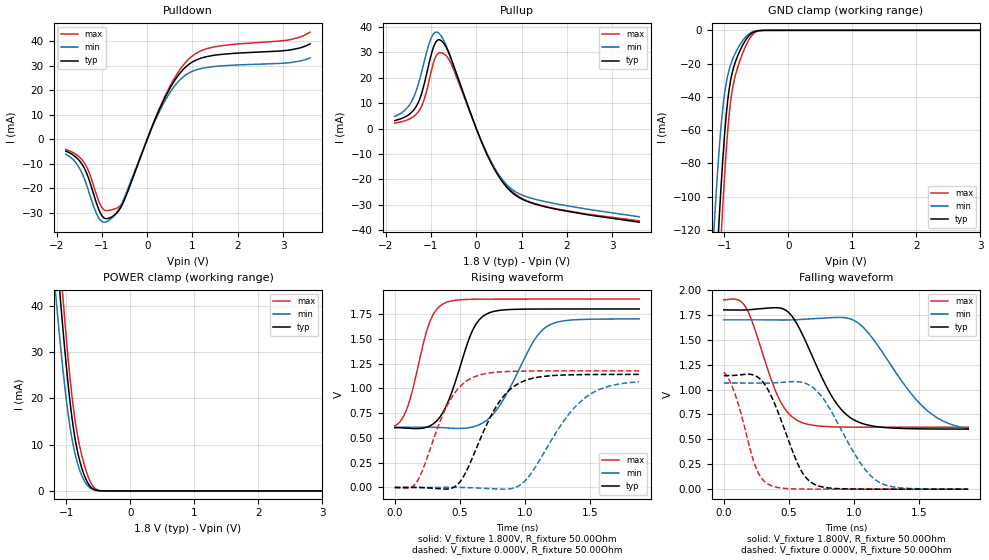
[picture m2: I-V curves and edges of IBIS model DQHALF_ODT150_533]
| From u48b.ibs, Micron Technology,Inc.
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|MODEL DQHALF_ODT150_533 (Reduced-Drv IO Drvr with 150-ohm ODT Submodel,400/533)
[Model]   DQHALF_ODT150_533
Model_type   I/O
Vinl = 650.000mV
Vinh = 1.150V
Vmeas = 900.000mV
Vref = 900.000mV
Cref = 0.0pF
Rref = 25.000Ohm
|   typ   min   max
C_comp   3.09pF   2.91pF   3.33pF
| Note: C_comp decreases when the ODT circuit is enabled.
[Model Spec]
| Input threshold voltage corners
Vinl   0.650V   0.600V   0.700V
Vinh   1.150V   1.100V   1.200V
| Measurement voltage corners
Vmeas   0.900V   0.850V   0.950V
| Timing spec test load voltage corners
Vref   0.900V   0.850V   0.950V
[Receiver Thresholds]
Vth   =  0.900V
Vth_min  =  0.882V
Vth_max  =  0.918V
Vinh_ac  =  0.250V
Vinh_dc  =  0.125V
Vinl_ac  = -0.250V
Vinl_dc  = -0.125V
Tslew_ac =  5.000ns |Not specified, so set to high value
Threshold_sensitivity = 0.50
Reference_supply Pullup_ref
[Voltage Range]   1.800V   1.700V   1.900V
[Pullup Reference]   1.800V   1.700V   1.900V
| Junction Temperature (Ambient temp is 25C typ, 85C min, 0C max)
[Temperature Range]   40.0   100.0   0.0
[Add Submodel]
| Submodel Name   Mode
150ohm_ODT_533   Non-Driving
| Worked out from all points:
|   slope of the pulldown table from 0 to 0.27 V, typ, clamps not added: 22 ohm
|   slope of the pullup table from 0 to 0.27 V, typ, clamps not added: 23.7 ohm
|   GND clamp passes 1 mA (typ) near -0.54 V on its own axis
|   POWER clamp passes 1 mA (typ) near -0.63 V on its own axis
|   falling waveform, V_fixture 1.800V, R_fixture 50.00Ohm: 20-80 % time 275ps typ, 371ps min, 209ps max; typ from 1.8 V to 0.603 V
|   rising waveform, V_fixture 1.800V, R_fixture 50.00Ohm: 20-80 % time 188ps typ, 265ps min, 148ps max; typ from 0.603 V to 1.8 V
|   rising waveform, V_fixture 0.000V, R_fixture 50.00Ohm: 20-80 % time 259ps typ, 333ps min, 223ps max; typ from 0 V to 1.14 V
|   falling waveform, V_fixture 0.000V, R_fixture 50.00Ohm: 20-80 % time 205ps typ, 284ps min, 151ps max; typ from 1.14 V to 0 V
[Pulldown]
|   Voltage   I(typ)   I(min)   I(max)
-1.8V     -4.83mA    -6.06mA    -4.162mA
-1.565V   -7.504mA   -9.892mA   -6.301mA
-1.385V   -12.01mA   -16.39mA   -9.793mA
-1.05V    -29.61mA   -32.78mA   -26.27mA
-935mV    -32.38mA   -33.93mA   -29.07mA
-790mV    -31.85mA   -32.39mA   -28.89mA
-510mV    -25.06mA   -24.06mA   -24.73mA
375mV     16.39mA    15.14mA    16.89mA
885mV     30.12mA    26.7mA     32.19mA
1.425V    34.19mA    29.63mA    37.55mA
3.095V    36.36mA    31.22mA    40.53mA
3.6V      39mA       33.26mA    43.82mA
[GND Clamp]
|   Voltage   I(typ)   I(min)   I(max)
-1.8V     -732.2mA   -643.1mA   -793.5mA
-1.16V    -171.3mA   -118.1mA   -209.8mA
-1.085V   -116.2mA   -73.6mA    -149.7mA
-1.045V   -89.91mA   -54.84mA   -120mA
-1.035V   -83.83mA   -50.82mA   -112.9mA
-970mV    -50.56mA   -31.51mA   -71.89mA
-930mV    -36.76mA   -24.38mA   -52.64mA
-890mV    -27.7mA    -19.36mA   -39.2mA
-780mV    -14.23mA   -10.13mA   -20.78mA
-595mV    -2.419mA   -1.638mA   -4.347mA
-385mV    -24.16uA   -28.43uA   -37.4uA
3.6V      0A         0A         0A
[Pullup]
|   Voltage   I(typ)   I(min)   I(max)
-1.8V     3.119mA    4.738mA    2.154mA
-1.475V   5.66mA     9.302mA    3.771mA
-1.25V    11.55mA    19.37mA    7.36mA
-1.01V    28.03mA    34.94mA    21.35mA
-860mV    34.72mA    37.88mA    29.25mA
-720mV    33.59mA    34.77mA    29.45mA
-565mV    27.91mA    27.98mA    25.91mA
130mV     -5.849mA   -5.684mA   -5.641mA
455mV     -17.64mA   -17.02mA   -17.1mA
710mV     -23.79mA   -22.71mA   -23.25mA
1.495V    -30.66mA   -28.64mA   -30.54mA
3.6V      -36.85mA   -34.72mA   -36.31mA
[POWER Clamp]
|   Voltage   I(typ)   I(min)   I(max)
-1.8V     174.6mA    152.1mA    190.2mA
-1.165V   53.73mA    42.23mA    61.99mA
-1.105V   43.44mA    33.31mA    50.92mA
-1.09V    40.94mA    31.19mA    48.23mA
-1.055V   35.28mA    26.43mA    42.08mA
-950mV    20.21mA    14.51mA    25.43mA
-860mV    11.01mA    7.788mA    14.92mA
-740mV    4.151mA    2.748mA    6.683mA
-610mV    726.3uA    481uA      1.577mA
-540mV    173.2uA    136.5uA    408.6uA
-395mV    4.004uA    6.066uA    6.606uA
3.6V      0A         0A         0A
[Ramp]
R_load = 50.00Ohm
|   typ   min   max
dV/dt_r   684.091mV/258.658ps 639.530mV/332.636ps 705.583mV/222.844ps
dV/dt_f   718.092mV/274.919ps 655.544mV/370.241ps 767.167mV/208.833ps
[Falling Waveform]
V_fixture = 1.800V
V_fixture_min = 1.700V
V_fixture_max = 1.900V
R_fixture = 50.00Ohm
|   Time   V(typ)   V(min)   V(max)
0s        1.8V       1.7V       1.9V
170ps     1.8V       1.7V       1.824V
410ps     1.821V     1.699V     950.9mV
500ps     1.773V     1.699V     757.9mV
570ps     1.642V     1.702V     687.1mV
820ps     956.6mV    1.721V     626.9mV
980ps     712.4mV    1.707V     622.7mV
1.12ns    640.5mV    1.556V     621.8mV
1.54ns    605.3mV    817.9mV    621.4mV
1.88ns    603.2mV    607.4mV    621.4mV
[Rising Waveform]
V_fixture = 1.800V
V_fixture_min = 1.700V
V_fixture_max = 1.900V
R_fixture = 50.00Ohm
|   Time   V(typ)   V(min)   V(max)
0s        603.2mV    607.4mV    621.4mV
100ps     597.5mV    607.6mV    818mV
270ps     621.1mV    607.7mV    1.672V
380ps     779.3mV    602.2mV    1.857V
590ps     1.559V     607.2mV    1.898V
700ps     1.745V     671mV      1.899V
820ps     1.788V     853.1mV    1.9V
1.06ns    1.799V     1.458V     1.9V
1.16ns    1.8V       1.614V     1.9V
1.88ns    1.8V       1.7V       1.9V
[Rising Waveform]
V_fixture = 0.000V
V_fixture_min = 0.000V
V_fixture_max = 0.000V
R_fixture = 50.00Ohm
|   Time   V(typ)   V(min)   V(max)
0s        -4.176uV   -1.689uV   -4.199uV
170ps     -37.64uV   -56.96uV   56.52mV
410ps     -14.63mV   1.095mV    844.3mV
500ps     53.28mV    175.8uV    1.015V
590ps     277.6mV    -2.964mV   1.103V
780ps     814.9mV    -14.65mV   1.163V
960ps     1.054V     20.91mV    1.173V
1.44ns    1.138V     879mV      1.176V
1.62ns    1.14V      1.011V     1.176V
1.88ns    1.14V      1.066V     1.176V
[Falling Waveform]
V_fixture = 0.000V
V_fixture_min = 0.000V
V_fixture_max = 0.000V
R_fixture = 50.00Ohm
|   Time   V(typ)   V(min)   V(max)
0s        1.14V      1.066V     1.176V
90ps      1.143V     1.066V     941.6mV
250ps     1.134V     1.065V     206.4mV
350ps     973.9mV    1.066V     43.75mV
580ps     223.3mV    1.077V     1.715mV
700ps     47.07mV    1.006V     423.2uV
1.06ns    985.9uV    245.7mV    24.62uV
1.18ns    401.5uV    81.59mV    13.14uV
1.36ns    120.4uV    13.01mV    4.94uV
1.88ns    -4.176uV   -1.689uV   -4.199uV
